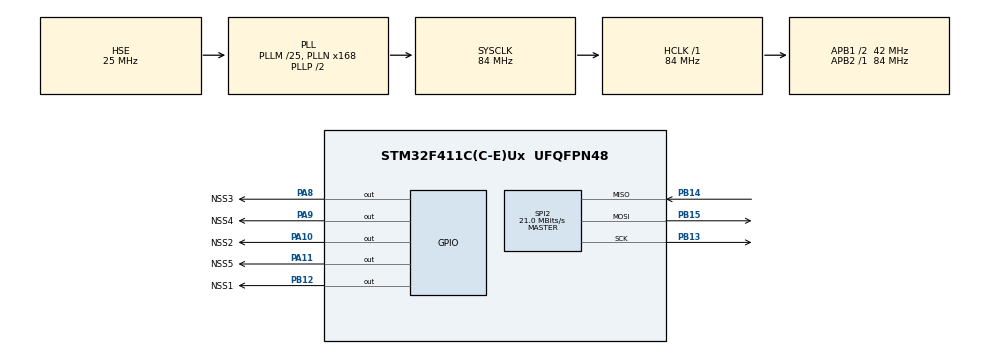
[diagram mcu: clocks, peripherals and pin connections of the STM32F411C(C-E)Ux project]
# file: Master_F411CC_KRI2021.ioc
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Dma.Request0=SPI2_RX
Dma.SPI2_RX.0.Direction=DMA_PERIPH_TO_MEMORY
Dma.SPI2_RX.0.FIFOMode=DMA_FIFOMODE_DISABLE
Dma.SPI2_RX.0.Instance=DMA1_Stream3
Dma.SPI2_RX.0.MemDataAlignment=DMA_MDATAALIGN_BYTE
Dma.SPI2_RX.0.MemInc=DMA_MINC_ENABLE
Dma.SPI2_RX.0.Mode=DMA_NORMAL
Dma.SPI2_RX.0.PeriphDataAlignment=DMA_PDATAALIGN_BYTE
Dma.SPI2_RX.0.PeriphInc=DMA_PINC_DISABLE
Dma.SPI2_RX.0.Priority=DMA_PRIORITY_LOW
Mcu.Family=STM32F4
Mcu.Name=STM32F411C(C-E)Ux
Mcu.Package=UFQFPN48
NVIC.DMA1_Stream3_IRQn=true\:0\:0\:false\:false\:true\:false\:true\:true
NVIC.PriorityGroup=NVIC_PRIORITYGROUP_4
PA10.GPIO_Label=NSS2
PA10.GPIO_Speed=GPIO_SPEED_FREQ_MEDIUM
PA10.Signal=GPIO_Output
PA11.GPIO_Label=NSS5
PA11.GPIO_Speed=GPIO_SPEED_FREQ_MEDIUM
PA11.Signal=GPIO_Output
PA13.Mode=Serial_Wire
PA13.Signal=SYS_JTMS-SWDIO
PA14.Mode=Serial_Wire
PA14.Signal=SYS_JTCK-SWCLK
PA8.GPIO_Label=NSS3
PA8.GPIO_Speed=GPIO_SPEED_FREQ_MEDIUM
PA8.Signal=GPIO_Output
PA9.GPIO_Label=NSS4
PA9.GPIO_Speed=GPIO_SPEED_FREQ_MEDIUM
PA9.Signal=GPIO_Output
PB12.GPIO_Label=NSS1
PB12.GPIO_Speed=GPIO_SPEED_FREQ_MEDIUM
PB12.Signal=GPIO_Output
PB13.Mode=Full_Duplex_Master
PB13.Signal=SPI2_SCK
PB14.Mode=Full_Duplex_Master
PB14.Signal=SPI2_MISO
PB15.Mode=Full_Duplex_Master
PB15.Signal=SPI2_MOSI
PH0\ -\ OSC_IN.Mode=HSE-External-Oscillator
PH0\ -\ OSC_IN.Signal=RCC_OSC_IN
PH1\ -\ OSC_OUT.Mode=HSE-External-Oscillator
PH1\ -\ OSC_OUT.Signal=RCC_OSC_OUT
ProjectManager.HeapSize=0x200
ProjectManager.StackSize=0x400
ProjectManager.TargetToolchain=STM32CubeIDE
RCC.48MHZClocksFreq_Value=42000000
RCC.AHBFreq_Value=84000000
RCC.APB1CLKDivider=RCC_HCLK_DIV2
RCC.APB1Freq_Value=42000000
RCC.APB1TimFreq_Value=84000000
RCC.APB2Freq_Value=84000000
RCC.APB2TimFreq_Value=84000000
RCC.CortexFreq_Value=84000000
RCC.HCLKFreq_Value=84000000
RCC.HSE_VALUE=25000000
RCC.HSI_VALUE=16000000
RCC.LSE_VALUE=32768
RCC.PLLM=25
RCC.PLLN=168
RCC.PLLSourceVirtual=RCC_PLLSOURCE_HSE
RCC.SYSCLKFreq_VALUE=84000000
RCC.SYSCLKSource=RCC_SYSCLKSOURCE_PLLCLK
RCC.VCOOutputFreq_Value=168000000
SPI2.CalculateBaudRate=21.0 MBits/s
SPI2.Direction=SPI_DIRECTION_2LINES
SPI2.Mode=SPI_MODE_MASTER
SPI2.VirtualType=VM_MASTER
board=custom

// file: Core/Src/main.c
/* USER CODE BEGIN Header */
/**
  ******************************************************************************
  * @file           : main.c
  * @brief          : Main program body
  ******************************************************************************
  * @attention
  *
  * <h2><center>&copy; Copyright (c) 2021 STMicroelectronics.
  * All rights reserved.</center></h2>
  *
  * This software component is licensed by ST under BSD 3-Clause license,
  * the "License"; You may not use this file except in compliance with the
  * License. You may obtain a copy of the License at:
  *                        opensource.org/licenses/BSD-3-Clause
  *
  ******************************************************************************
  */
/* USER CODE END Header */
#include "main.h"

SPI_HandleTypeDef hspi2;
DMA_HandleTypeDef hdma_spi2_rx;

/* USER CODE BEGIN PV */
uint8_t bufferRx[4], bufferTx[8], terima;

/* USER CODE END PV */

void SystemClock_Config(void);
static void MX_GPIO_Init(void);
static void MX_DMA_Init(void);
static void MX_SPI2_Init(void);
/* USER CODE BEGIN PFP */
void kirimdata (void);
void packingdata (uint32_t setPoint, uint16_t kecmax, uint8_t kecmin, uint8_t dir, uint8_t belok);
void verif(void);
/* USER CODE END PFP */

int main(void)
{

  /* MCU Configuration--------------------------------------------------------*/

  /* Reset of all peripherals, Initializes the Flash interface and the Systick. */
  HAL_Init();

  /* Configure the system clock */
  SystemClock_Config();

  /* Initialize all configured peripherals */
  MX_GPIO_Init();
  MX_DMA_Init();
  MX_SPI2_Init();
  /* USER CODE BEGIN 2 */
  HAL_SPI_Receive_DMA(&hspi2, (uint8_t*)&bufferRx, 4);
  /* USER CODE END 2 */

  /* Infinite loop */
  while (1)
  {

    /* USER CODE BEGIN 3 */
	  while(1){
		  packingdata(700, 400, 60, 0, 1);
		  kirimdata();
		  verif();
		  if(terima = 1){
			  terima =0;
			  break;
		  }
	  }

	  while(1){
	  		  packingdata(100, 400, 60, 0, 1);
	  		  kirimdata();
	  		  verif();
	  		  if(terima = 1){
	  			  terima =0;
	  			  break;
	  		  }
	  	  }
  }
  /* USER CODE END 3 */
}

void SystemClock_Config(void)
{
  RCC_OscInitTypeDef RCC_OscInitStruct = {0};
  RCC_ClkInitTypeDef RCC_ClkInitStruct = {0};

  /** Configure the main internal regulator output voltage
  */
  __HAL_RCC_PWR_CLK_ENABLE();
  __HAL_PWR_VOLTAGESCALING_CONFIG(PWR_REGULATOR_VOLTAGE_SCALE1);
  /** Initializes the RCC Oscillators according to the specified parameters
  * in the RCC_OscInitTypeDef structure.
  */
  RCC_OscInitStruct.OscillatorType = RCC_OSCILLATORTYPE_HSE;
  RCC_OscInitStruct.HSEState = RCC_HSE_ON;
  RCC_OscInitStruct.PLL.PLLState = RCC_PLL_ON;
  RCC_OscInitStruct.PLL.PLLSource = RCC_PLLSOURCE_HSE;
  RCC_OscInitStruct.PLL.PLLM = 25;
  RCC_OscInitStruct.PLL.PLLN = 168;
  RCC_OscInitStruct.PLL.PLLP = RCC_PLLP_DIV2;
  RCC_OscInitStruct.PLL.PLLQ = 4;
  if (HAL_RCC_OscConfig(&RCC_OscInitStruct) != HAL_OK)
  {
    Error_Handler();
  }
  /** Initializes the CPU, AHB and APB buses clocks
  */
  RCC_ClkInitStruct.ClockType = RCC_CLOCKTYPE_HCLK|RCC_CLOCKTYPE_SYSCLK
                              |RCC_CLOCKTYPE_PCLK1|RCC_CLOCKTYPE_PCLK2;
  RCC_ClkInitStruct.SYSCLKSource = RCC_SYSCLKSOURCE_PLLCLK;
  RCC_ClkInitStruct.AHBCLKDivider = RCC_SYSCLK_DIV1;
  RCC_ClkInitStruct.APB1CLKDivider = RCC_HCLK_DIV2;
  RCC_ClkInitStruct.APB2CLKDivider = RCC_HCLK_DIV1;

  if (HAL_RCC_ClockConfig(&RCC_ClkInitStruct, FLASH_LATENCY_2) != HAL_OK)
  {
    Error_Handler();
  }
}

static void MX_SPI2_Init(void)
{

  /* SPI2 parameter configuration*/
  hspi2.Instance = SPI2;
  hspi2.Init.Mode = SPI_MODE_MASTER;
  hspi2.Init.Direction = SPI_DIRECTION_2LINES;
  hspi2.Init.DataSize = SPI_DATASIZE_8BIT;
  hspi2.Init.CLKPolarity = SPI_POLARITY_LOW;
  hspi2.Init.CLKPhase = SPI_PHASE_1EDGE;
  hspi2.Init.NSS = SPI_NSS_SOFT;
  hspi2.Init.BaudRatePrescaler = SPI_BAUDRATEPRESCALER_2;
  hspi2.Init.FirstBit = SPI_FIRSTBIT_MSB;
  hspi2.Init.TIMode = SPI_TIMODE_DISABLE;
  hspi2.Init.CRCCalculation = SPI_CRCCALCULATION_DISABLE;
  hspi2.Init.CRCPolynomial = 10;
  if (HAL_SPI_Init(&hspi2) != HAL_OK)
  {
    Error_Handler();
  }

}

static void MX_DMA_Init(void)
{

  /* DMA controller clock enable */
  __HAL_RCC_DMA1_CLK_ENABLE();

  /* DMA interrupt init */
  /* DMA1_Stream3_IRQn interrupt configuration */
  HAL_NVIC_SetPriority(DMA1_Stream3_IRQn, 0, 0);
  HAL_NVIC_EnableIRQ(DMA1_Stream3_IRQn);

}

static void MX_GPIO_Init(void)
{
  GPIO_InitTypeDef GPIO_InitStruct = {0};

  /* GPIO Ports Clock Enable */
  __HAL_RCC_GPIOH_CLK_ENABLE();
  __HAL_RCC_GPIOB_CLK_ENABLE();
  __HAL_RCC_GPIOA_CLK_ENABLE();

  /*Configure GPIO pin Output Level */
  HAL_GPIO_WritePin(NSS1_GPIO_Port, NSS1_Pin, GPIO_PIN_RESET);

  /*Configure GPIO pin Output Level */
  HAL_GPIO_WritePin(GPIOA, NSS3_Pin|NSS4_Pin|NSS2_Pin|NSS5_Pin, GPIO_PIN_RESET);

  /*Configure GPIO pin : NSS1_Pin */
  GPIO_InitStruct.Pin = NSS1_Pin;
  GPIO_InitStruct.Mode = GPIO_MODE_OUTPUT_PP;
  GPIO_InitStruct.Pull = GPIO_NOPULL;
  GPIO_InitStruct.Speed = GPIO_SPEED_FREQ_MEDIUM;
  HAL_GPIO_Init(NSS1_GPIO_Port, &GPIO_InitStruct);

  /*Configure GPIO pins : NSS3_Pin NSS4_Pin NSS2_Pin NSS5_Pin */
  GPIO_InitStruct.Pin = NSS3_Pin|NSS4_Pin|NSS2_Pin|NSS5_Pin;
  GPIO_InitStruct.Mode = GPIO_MODE_OUTPUT_PP;
  GPIO_InitStruct.Pull = GPIO_NOPULL;
  GPIO_InitStruct.Speed = GPIO_SPEED_FREQ_MEDIUM;
  HAL_GPIO_Init(GPIOA, &GPIO_InitStruct);

}

/* USER CODE BEGIN 4 */
void packingdata (uint32_t setPoint, uint16_t kecmax, uint8_t kecmin, uint8_t belok, uint8_t dir){
	  bufferTx[0]= dir;
	  bufferTx[1]= ((uint32_t)setPoint>>0) & 0xff;
	  bufferTx[2]= ((uint32_t)setPoint>>8) & 0xff;
	  bufferTx[3]= ((uint32_t)setPoint>>16) & 0xff;
	  bufferTx[4]= ((uint32_t)setPoint>>24) & 0xff;
	  bufferTx[5]= ((uint16_t)kecmax>>0) & 0xff;
	  bufferTx[6]= ((uint16_t)kecmax>>8) & 0xff;
	  bufferTx[7]= kecmin;
	  bufferTx[8]= belok;

}

void kirimdata (void){
	HAL_GPIO_WritePin(NSS1_GPIO_Port, NSS1_Pin, GPIO_PIN_RESET);
	HAL_GPIO_WritePin(NSS2_GPIO_Port, NSS2_Pin, GPIO_PIN_RESET);
	HAL_GPIO_WritePin(NSS3_GPIO_Port, NSS3_Pin, GPIO_PIN_RESET);
	HAL_GPIO_WritePin(NSS4_GPIO_Port, NSS4_Pin, GPIO_PIN_RESET);
	HAL_GPIO_WritePin(NSS5_GPIO_Port, NSS5_Pin, GPIO_PIN_RESET);
	HAL_SPI_Transmit(&hspi2, (uint8_t*)&bufferTx, 10, 0);
	HAL_SPI_Receive_DMA(&hspi2, (uint8_t*)&bufferRx[0], 1);
	HAL_SPI_Receive_DMA(&hspi2, (uint8_t*)&bufferRx[1], 1);
	HAL_SPI_Receive_DMA(&hspi2, (uint8_t*)&bufferRx[2], 1);
	HAL_SPI_Receive_DMA(&hspi2, (uint8_t*)&bufferRx[3], 1);
	  HAL_GPIO_WritePin(NSS1_GPIO_Port, NSS1_Pin, GPIO_PIN_SET);
	  HAL_GPIO_WritePin(NSS2_GPIO_Port, NSS2_Pin, GPIO_PIN_SET);
	  HAL_GPIO_WritePin(NSS3_GPIO_Port, NSS3_Pin, GPIO_PIN_SET);
	  HAL_GPIO_WritePin(NSS4_GPIO_Port, NSS4_Pin, GPIO_PIN_SET);
	  HAL_GPIO_WritePin(NSS5_GPIO_Port, NSS5_Pin, GPIO_PIN_SET);
}
void verif (void){
	if (bufferRx[0]==1 && bufferRx[1] == 1 && bufferRx[2]==1 && bufferRx[3] == 1){
		terima = 1;
		bufferRx[0] = 0;
		bufferRx[1] = 0;
		bufferRx[2] = 0;
		bufferRx[3] = 0;
	}
}
/* USER CODE END 4 */

void Error_Handler(void)
{
  __disable_irq();
  while (1)
  {
  }
}

/************************ (C) COPYRIGHT STMicroelectronics *****END OF FILE****/
